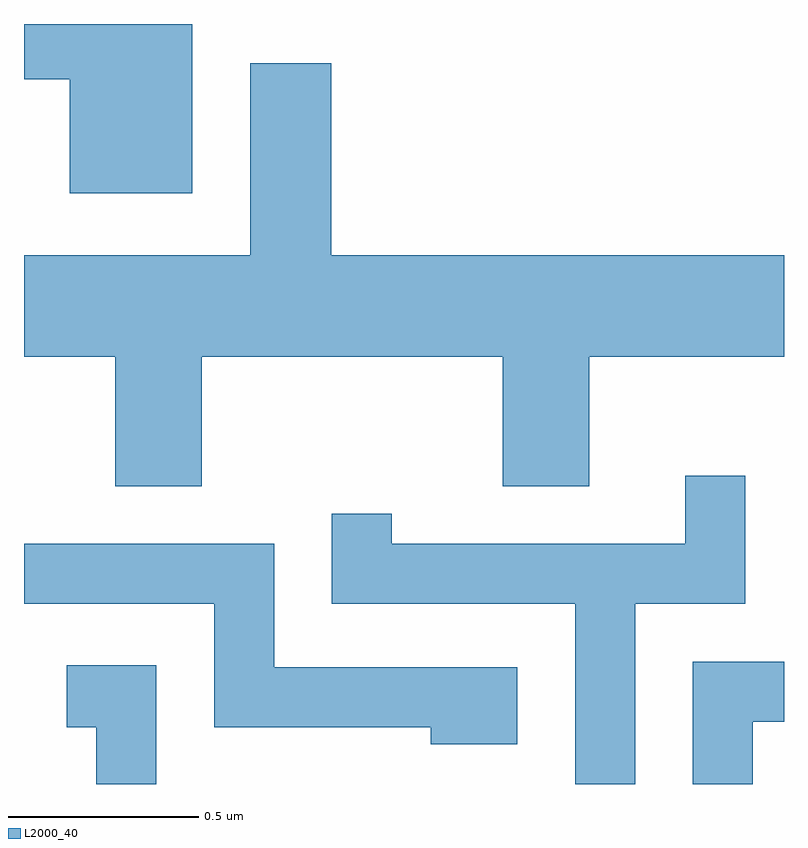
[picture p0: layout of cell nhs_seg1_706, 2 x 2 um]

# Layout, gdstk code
import gdstk
lib = gdstk.Library(unit=1e-6, precision=1e-09)
def P(c, l, *ps):  # polygons
    for p in ps: c.add(gdstk.Polygon(p, *l))
L2000_40 = (2000, 40)

nhs_seg1_706 = lib.new_cell('nhs_seg1_706')
P(nhs_seg1_706, L2000_40, [(191.054,862.712),(190.611,862.712),(190.611,862.566),(190.731,862.566),(190.731,862.266),(191.054,862.266)],
  [(191.079,861.836),(191.871,861.836),(191.871,861.496),(192.099,861.496),(192.099,861.836),(192.611,861.836),(192.611,862.104),(191.419,862.104),(191.419,862.609),(191.206,862.609),(191.206,862.104),(190.611,862.104),(190.611,861.836),(190.851,861.836),(190.851,861.496),(191.079,861.496)],
  [(192.219,861.186),(192.509,861.186),(192.509,861.523),(192.351,861.523),(192.351,861.344),(191.579,861.344),(191.579,861.423),(191.421,861.423),(191.421,861.186),(192.061,861.186),(192.061,860.712),(192.219,860.712)],
  [(191.909,861.019),(191.269,861.019),(191.269,861.344),(190.611,861.344),(190.611,861.186),(191.111,861.186),(191.111,860.861),(191.681,860.861),(191.681,860.816),(191.909,860.816)],
  [(192.529,860.876),(192.611,860.876),(192.611,861.034),(192.371,861.034),(192.371,860.712),(192.529,860.712)],
  [(190.959,861.024),(190.723,861.024),(190.723,860.861),(190.801,860.861),(190.801,860.712),(190.959,860.712)])

lib.write_gds('nhs_seg1_706.gds')
